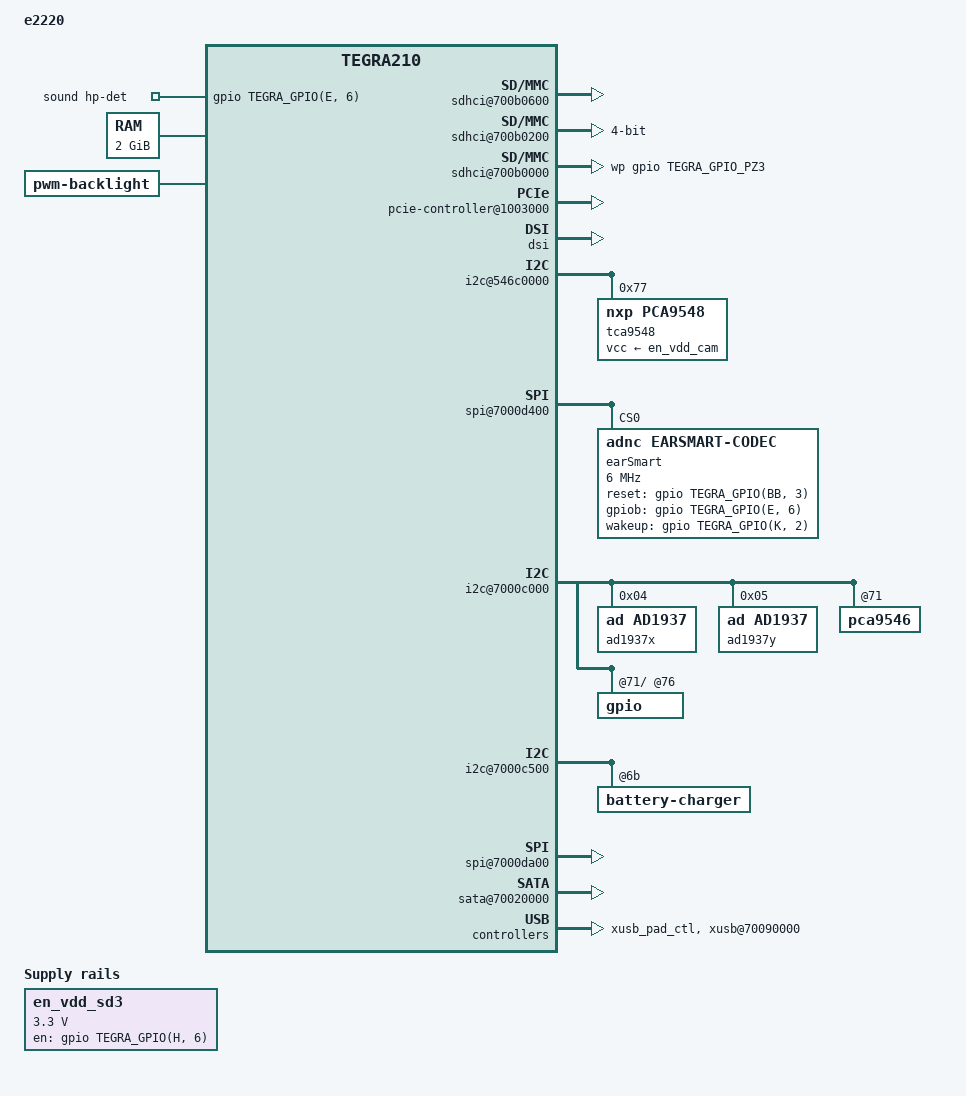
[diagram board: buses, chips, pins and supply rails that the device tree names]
/*
 * T210- DSC
 *
 * arch/arm64/boot/dts/tegra210-ers-e2220-1170-a00-00.dts
 *
 * Copyright (c) 2015-2016, NVIDIA CORPORATION.  All rights reserved.
 *
 * This program is free software; you can redistribute it and/or modify
 * it under the terms of the GNU General Public License as published by
 * the Free Software Foundation; version 2 of the License.
 *
 * This program is distributed in the hope that it will be useful, but WITHOUT
 * ANY WARRANTY; without even the implied warranty of MERCHANTABILITY or
 * FITNESS FOR A PARTICULAR PURPOSE.  See the GNU General Public License for
 * more details.
 *
 * You should have received a copy of the GNU General Public License along
 * with this program; if not, write to the Free Software Foundation, Inc.,
 * 51 Franklin Street, Fifth Floor, Boston, MA  02110-1301, USA.
 *
 */

/dts-v1/;

/memreserve/ 0x80000000 0x00020000;

#include "tegra210-ers-common.dtsi"
#include "tegra210-platforms/tegra210-ers-extgpio-e2220-1170-a00.dtsi"
#include "tegra210-platforms/tegra210-ers-power-tree-e2174-1101-a00.dtsi"
#include "tegra210-platforms/tegra210-ers-e2220-powermon-e2174-1100-a00-00.dtsi"
#include "tegra210-platforms/tegra210-ers-sensor-e2160-1000-a00.dtsi"
#include "tegra210-platforms/tegra210-ers-gpio-e2220-1170-a00.dtsi"
#include "tegra210-platforms/tegra210-pinmux-drive-sdmmc-common.dtsi"
#include "tegra210-platforms/tegra210-ers-pinmux-e2220-1170-a00.dtsi"
#include "tegra210-platforms/tegra210-comms.dtsi"
#include "tegra210-platforms/tegra210-sdhci.dtsi"
#include "tegra210-platforms/tegra210-audio.dtsi"
#include "panel-j-1440-810-5-8.dtsi"
#include "panel-a-wuxga-8-0.dtsi"
#include "panel-s-wqxga-10-1.dtsi"
#include "panel-a-edp-1080p-14-0.dtsi"
#include "tegra210-platforms/tegra210-ers-hdmi-e2190-1100-a00.dtsi"
#include "tegra210-platforms/tegra210-ers-dp-e2220-1170-a00.dtsi"
#include "tegra210-platforms/tegra210-ers-keys-e2220-1170-a00.dtsi"
#include "tegra210-platforms/tegra210-ers-camera-e2249-1002-a00.dtsi"
#include "tegra210-platforms/tegra210-ers-pwm-fan-e2220-1170-a00.dtsi"
#include "tegra210-platforms/tegra210-edp.dtsi"
#include "tegra210-platforms/tegra210-ers-thermal-nct72-e2220-1170-a00.dtsi"
#include "tegra210-platforms/tegra210-thermal-Tboard-Tdiode.dtsi"
#include "tegra210-platforms/tegra210-ers-clk-init.dtsi"
#include <dt-bindings/sound/tegra-asoc-alt.h>
#include <dt-bindings/platform/t210/t210.h>

/ {
	model = "e2220";
	compatible = "nvidia,e2220", "nvidia,tegra210";
	nvidia,boardids = "2220:1100:00;2174:1101:00";
	nvidia,dtsfilename = __FILE__;
	nvidia,proc-boardid = "2220:1100:00";
	nvidia,pmu-boardid = "2174:1101:00";
	nvidia,fastboot-usb-pid = <0x7100>;
	#address-cells = <2>;
	#size-cells = <2>;

	firmware {
		android {
			compatible = "android,firmware";
			hardware = "e2220";
		};
	};

	pmc@7000e400 {
		nvidia,invert-interrupt;
		io-pad-defaults {
			audio-hv {
				nvidia,io-pad-init-voltage = <IO_PAD_VOLTAGE_1_8V>;
			};

			spi-hv {
				nvidia,io-pad-init-voltage = <IO_PAD_VOLTAGE_1_8V>;
			};

			gpio {
				nvidia,io-pad-init-voltage = <IO_PAD_VOLTAGE_1_8V>;
			};

			sdmmc1 {
				nvidia,enable-dynamic-pad-voltage;
			};
			sdmmc3 {
				nvidia,enable-dynamic-pad-voltage;
			};
		};
	};

	chosen {
		bootargs = "earlycon=uart8250,mmio32,0x70006000";
		stdout-path = &uarta;
	};

	firmware {
		android {
			compatible = "android,firmware";
			hardware = "e2220";
		};
	};

	sdhci@700b0600 {
		vddio_sdmmc-supply = <&max77620_sd3>;
		vddio_sd_slot-supply = <&vdd_3v3>;
		uhs-mask = <0x60>;
		built-in;
		power-off-rail;
		status = "okay";
	};

	sdhci@700b0400 {
		uhs-mask = <0x1c>;
		vddio_sdmmc-supply = <&max77620_sd3>;
		vddio_sd_slot-supply = <&en_vdd_sd3>;
		power-off-rail;
		nvidia,update-pinctrl-settings;
		pinctrl-names = "sdmmc_schmitt_enable", "sdmmc_schmitt_disable", "sdmmc_clk_schmitt_enable", "sdmmc_clk_schmitt_disable";
		pinctrl-0 = <&sdmmc3_schmitt_enable_state>;
		pinctrl-1 = <&sdmmc3_schmitt_disable_state>;
		pinctrl-2 = <&sdmmc3_clk_schmitt_enable_state>;
		pinctrl-3 = <&sdmmc3_clk_schmitt_disable_state>;
		status = "disabled";
	};

	sdhci@700b0200 {
		nvidia,is-ddr-tap-delay;
		nvidia,ddr-tap-delay = <0>;
		vddio_sdmmc-supply = <&max77620_sd3>;
		vddio_sd_slot-supply = <&vdd_3v3>;
		uhs-mask = <0x8>;
		bus-width = <4>;
		power-off-rail;
		status = "okay";
	};

	sdhci@700b0000 {
		uhs-mask = <0x8>;
		power-off-rail;
		default-drive-type = <1>;
		vddio_sdmmc-supply = <&max77620_ldo2>;
		vddio_sd_slot-supply = <&en_vdd_sd>;
		nvidia,update-pinctrl-settings;
		pinctrl-names = "sdmmc_schmitt_enable", "sdmmc_schmitt_disable", "sdmmc_clk_schmitt_enable", "sdmmc_clk_schmitt_disable";
		pinctrl-0 = <&sdmmc1_schmitt_enable_state>;
		pinctrl-1 = <&sdmmc1_schmitt_disable_state>;
		pinctrl-2 = <&sdmmc1_clk_schmitt_enable_state>;
		pinctrl-3 = <&sdmmc1_clk_schmitt_disable_state>;
		nvidia,sd-device;
		wp-gpios = <&gpio TEGRA_GPIO_PZ3 0>;
		status = "okay";
	};

	pcie-controller@1003000 {
		nvidia,wake-gpio = <&gpio TEGRA_GPIO(A, 2) 0>;
		nvidia,lane-map = <0x14>;
		dvdd-pex-pll-supply = <&max77620_ldo1>;
		l0-dvddio-pex-supply = <&max77620_ldo1>;
		l1-dvddio-pex-supply = <&max77620_ldo1>;
		l2-dvddio-pex-supply = <&max77620_ldo1>;
		l3-dvddio-pex-supply = <&max77620_ldo1>;
		l4-dvddio-pex-supply = <&max77620_ldo1>;
		l5-dvddio-pex-supply = <&max77620_ldo1>;
		l6-dvddio-pex-supply = <&max77620_ldo1>;
		hvdd-pex-pll-e-supply = <&max77620_sd3>;
		l0-hvddio-pex-supply = <&max77620_sd3>;
		l1-hvddio-pex-supply = <&max77620_sd3>;
		l2-hvddio-pex-supply = <&max77620_sd3>;
		l3-hvddio-pex-supply = <&max77620_sd3>;
		l4-hvddio-pex-supply = <&max77620_sd3>;
		l5-hvddio-pex-supply = <&max77620_sd3>;
		l6-hvddio-pex-supply = <&max77620_sd3>;
		vddio-pex-ctl-supply = <&max77620_sd3>;
		status = "okay";
		pci@1,0 {
			status = "okay";
		};

		pci@2,0 {
			status = "okay";
		};
	};

	host1x {
		/* tegradc.0 */
		dc@54200000 {
			status = "okay";
			nvidia,dc-flags = <TEGRA_DC_FLAG_ENABLED>;
			nvidia,emc-clk-rate = <204000000>;
			nvidia,cmu-enable = <1>;
			nvidia,low-v-win = <0x2>;
			nvidia,fb-bpp = <32>; /* bits per pixel */
			nvidia,fb-flags = <TEGRA_FB_FLIP_ON_PROBE>;
		};
		/* tegradc.1 */
		dc@54240000 {
			status = "okay";
			nvidia,dc-flags = <TEGRA_DC_FLAG_ENABLED>;
			nvidia,emc-clk-rate = <300000000>;
			nvidia,fb-bpp = <32>; /* bits per pixel */
			nvidia,fb-flags = <TEGRA_FB_FLIP_ON_PROBE>;
		};
		dsi {
			nvidia,dsi-controller-vs = <DSI_VS_1>;
			status = "okay";
			panel-j-1440-810-5-8 {
				nvidia,dsi-dpd-pads = <DSIC_DPD_EN DSID_DPD_EN>;
				nvidia,panel-rst-gpio = <&gpio TEGRA_GPIO(V, 2) 0>; /* PV2 */
				nvidia,panel-bl-pwm-gpio = <&gpio TEGRA_GPIO(V, 0) 0>; /* PV0 */
				nvidia,panel-en-gpio = <&gpio TEGRA_GPIO(V, 1) 0>; /* PV1 */
			};
			panel-a-wuxga-8-0 {
				nvidia,dsi-dpd-pads = <DSIC_DPD_EN DSID_DPD_EN>;
				nvidia,panel-rst-gpio = <&gpio TEGRA_GPIO(V, 2) 0>; /* PV2 */
				nvidia,panel-bl-pwm-gpio = <&gpio TEGRA_GPIO(V, 0) 0>; /* PV0 */
				nvidia,panel-en-gpio = <&gpio TEGRA_GPIO(V, 1) 0>; /* PV1 */
			};
			panel-s-wqxga-10-1 {
				nvidia,panel-rst-gpio = <&gpio TEGRA_GPIO(V, 2) 0>; /* PV2 */
				nvidia,panel-bl-pwm-gpio = <&gpio TEGRA_GPIO(V, 0) 0>; /* PV0 */
				nvidia,panel-en-gpio = <&gpio TEGRA_GPIO(V, 1) 0>; /* PV1 */
			};
		};
		sor {
			status = "okay";
			nvidia,hpd-gpio = <&gpio 230 0>; /*PCC6*/
			panel-a-edp-1080p-14-0 {
				nvidia,panel-bl-pwm-gpio = <&gpio TEGRA_GPIO(V, 0) 0>; /* PV0 */
			};
		};
		dpaux {
			status = "okay";
		};
		sor1 {
			status = "okay";
		};
		dpaux1 {
			status = "okay";
		};

		vi {
			status = "okay";

			avdd_dsi_csi-supply = <&max77620_gpio7>;
		};
	};

	spi@7000d400 {
		status = "okay";
		earSmart: earSmart-codec@0 {
			compatible = "adnc,earSmart-codec";
			reg = <0>;
			spi-max-frequency = <6000000>;
			spi-cpha;

			adnc,reset-gpio = <&gpio TEGRA_GPIO(BB, 3) GPIO_ACTIVE_HIGH>;
			adnc,gpiob-gpio = <&gpio TEGRA_GPIO(E, 6) GPIO_ACTIVE_HIGH>;
			adnc,wakeup-gpio = <&gpio TEGRA_GPIO(K, 2) GPIO_ACTIVE_HIGH>;

			adnc,int-gpio = <(-1)>;
			adnc,gpioa-gpio = <(-1)>;
			adnc,enable_hs_uart_intf = <0>;
			adnc,ext_clk_rate = <0>;
			adnc,debounce_timer = <3>;
			adnc,plug_det_enabled = <1>;
			adnc,mic_det_enabled = <1>;

			adnc,gpio_b_irq_type = <4>;
			adnc,cmd_comp_mode = <0>;

			/* Button Control 1 */
			adnc,btn_press_settling_time = <4>;
			adnc,btn_press_polling_rate = <1>;
			adnc,btn_press_det_act = <1>;

			/* Button Control 2 */
			adnc,double_btn_timer = <(-1)>;
			adnc,mic_det_settling_timer = <(-1)>;

			/* Button Control 3 */
			adnc,long_btn_timer = <(-1)>;
			adnc,adc_btn_mute = <(-1)>;

			/* Button Control 4 */
			adnc,valid_levels = <31>;
			adnc,impd_det_timer = <0>;
		};
	};

	i2c@7000c000 {
		ad1937x: ad193x.0-0004@04 {
			compatible = "ad,ad1937";
			reg = <0x04>;
		};
		ad1937y: ad193x.0-0005@05 {
			compatible = "ad,ad1937";
			reg = <0x05>;
		};
		pca9546@71 {
			i2c@3 {
				gpio@76 {
					default {
						gpio-output-low = <12 14 15>;
						gpio-output-high = <5 6 11 13>;
					};
				};
			};
		};
	};

	i2c@7000c500 {
		battery-charger@6b {
			usb0_vbus: vbus {
				regulator-enable-ramp-delay = <260000>;
			};
		};
	};

	adma@702e2000  {
		dma-channels = <10>;
		status = "okay";
	};

	ahub {
		i2s@702d1000 {
			pinctrl-names = "dap_active", "dap_inactive";
			pinctrl-0 = <>;
			pinctrl-1 = <>;
			regulator-supplies = "vdd-1v8-audio-hv", "vdd-1v8-audio-hv-bias";
			vdd-1v8-audio-hv-supply = <&max77620_sd3>;
			vdd-1v8-audio-hv-bias-supply = <&max77620_sd3>;
			fsync-width = <31>;
		};

		i2s@702d1100 {
			pinctrl-names = "dap_active", "dap_inactive";
			pinctrl-0 = <>;
			pinctrl-1 = <>;
			regulator-supplies = "vdd-1v8-spi-hv", "vdd-1v8-spi-hv-bias";
			vdd-1v8-spi-hv-supply = <&max77620_sd3>;
			vdd-1v8-spi-hv-bias-supply = <&max77620_sd3>;
			fsync-width = <0>;
		};

		i2s@702d1300 {
			pinctrl-names = "dap_active", "dap_inactive";
			pinctrl-0 = <>;
			pinctrl-1 = <>;
			regulator-supplies = "vddio-dmic";
			vddio-dmic-supply = <&max77620_sd3>;
			enable-cya; /* enable I2S4_CYA bit to select i2s4b pin */
		};

		spdif@702d6000 {
			pinctrl-names = "dap_active", "dap_inactive";
			pinctrl-0 = <>;
			pinctrl-1 = <>;
			regulator-supplies = "vdd-io-1v8-dp", "vdd-1v8-dp";
			vdd-io-1v8-dp-supply = <&max77620_sd3>;
			vdd-1v8-dp-supply = <&max77620_sd3>;
		};
	};

	sound {
		compatible = "nvidia,tegra-audio-t210ref-mobile-es755";
		nvidia,model = "tegra-snd-t210ref-mobile-es755";
		nvidia,hp-det-gpios = <&gpio TEGRA_GPIO(E, 6) GPIO_ACTIVE_HIGH>;
		nvidia,num-codec-link = <4>;

		nvidia,audio-routing =
			"y Headphone", 	"y OUT",
			"y IN",		"y Mic",
			"k Headphone", 	"k OUT",
			"k IN",		"k Mic",
			"z Headphone", 	"z OUT",
			"z IN",		"z Mic",
			"z IN",		"z OUT";

		nvidia,xbar = <&tegra_axbar>;

		nvidia,dai-link-1 {
			link-name = "earSmart-playback";
			cpu-dai = <&tegra_i2s1>;
			codec-dai = <&earSmart>;
			cpu-dai-name = "I2S1";
			codec-dai-name = "earSmart-porta";
			format = "i2s";
			bitclock-slave;
			frame-slave;
			bitclock-noninversion;
			frame-noninversion;
			bit-format = "s16_le";
			bclk_ratio = <0>;
			srate = <48000>;
			num-channel = <2>;
			name-prefix = "x";
		};
		nvidia,dai-link-2 {
			link-name = "spdif-dit-1";
			cpu-dai = <&tegra_i2s2>;
			codec-dai = <&spdif_dit1>;
			cpu-dai-name = "I2S2";
			codec-dai-name = "dit-hifi";
			format = "dsp_a";
			bitclock-slave;
			frame-slave;
			bitclock-inversion;
			frame-inversion;
			bit-format = "s16_le";
			bclk_ratio = <4>;
			srate = <8000>;
			num-channel = <1>;
			name-prefix = "y";
		};
		nvidia,dai-link-3 {
			link-name = "spdif-dit-2";
			cpu-dai = <&tegra_i2s3>;
			codec-dai = <&spdif_dit2>;
			cpu-dai-name = "I2S3";
			codec-dai-name = "dit-hifi";
			format = "i2s";
			bitclock-slave;
			frame-slave;
			bitclock-noninversion;
			frame-noninversion;
			bit-format = "s16_le";
			bclk_ratio = <0>;
			srate = <48000>;
			num-channel = <2>;
			name-prefix = "z";
		};
		nvidia,dai-link-4 {
			link-name = "baseband";
			cpu-dai = <&tegra_i2s4>;
			codec-dai = <&spdif_dit3>;
			cpu-dai-name = "I2S4";
			codec-dai-name = "dit-hifi";
			format = "i2s";
			bitclock-slave;
			frame-slave;
			bitclock-noninversion;
			frame-noninversion;
			bit-format = "s16_le";
			bclk_ratio = <0>;
			srate = <16000>;
			num-channel = <2>;
			name-prefix = "k";
		};
	};

	adsp_audio {
		compr-ops = <1>;
		num-plugin = <3>;
		plugin-info-1 {
			plugin-name = "mp3-dec1";
			firmware-name = "nvmp3dec.elf";
			widget-name = "MP3-DEC1";
		};
		plugin-info-2 {
			plugin-name = "mp3-dec2";
			firmware-name = "nvmp3dec.elf";
			widget-name = "MP3-DEC2";
		};
		plugin-info-3 {
			plugin-name = "spkprot";
			firmware-name = "nvspkprot.elf";
			widget-name = "SPKPROT-SW";
		};
	};

	sound_ref {
		compatible = "nvidia,tegra-audio-t210ref";
		nvidia,model = "tegra-snd-t210ref";
		nvidia,num-codec-link = <3>;
		nvidia,num-amx = <2>;
		nvidia,num-adx = <2>;
		nvidia,amx-slot-size = <32 32>;
		nvidia,adx-slot-size = <32 32>;
		nvidia,addr-max9485 = <0>;
		nvidia,amx-slot-map = <
			/* jack 0 */
			TDM_SLOT_MAP(0, 0, 0)
			TDM_SLOT_MAP(0, 0, 0)
			TDM_SLOT_MAP(0, 1, 0)
			TDM_SLOT_MAP(0, 1, 1)
			TDM_SLOT_MAP(0, 0, 0)
			TDM_SLOT_MAP(0, 0, 0)
			TDM_SLOT_MAP(0, 2, 0)
			TDM_SLOT_MAP(0, 2, 1)
			/* jack 1 */
			TDM_SLOT_MAP(0, 0, 0)
			TDM_SLOT_MAP(0, 0, 0)
			TDM_SLOT_MAP(1, 1, 0)
			TDM_SLOT_MAP(1, 1, 1)
			TDM_SLOT_MAP(0, 0, 0)
			TDM_SLOT_MAP(0, 0, 0)
			TDM_SLOT_MAP(1, 2, 0)
			TDM_SLOT_MAP(1, 2, 1)
			/* jack 2 */
			TDM_SLOT_MAP(0, 0, 0)
			TDM_SLOT_MAP(0, 0, 0)
			TDM_SLOT_MAP(2, 1, 0)
			TDM_SLOT_MAP(2, 1, 1)
			TDM_SLOT_MAP(0, 0, 0)
			TDM_SLOT_MAP(0, 0, 0)
			TDM_SLOT_MAP(2, 2, 0)
			TDM_SLOT_MAP(2, 2, 1)
			/* jack 3 */
			TDM_SLOT_MAP(0, 0, 0)
			TDM_SLOT_MAP(0, 0, 0)
			TDM_SLOT_MAP(3, 1, 0)
			TDM_SLOT_MAP(3, 1, 1)
			TDM_SLOT_MAP(0, 0, 0)
			TDM_SLOT_MAP(0, 0, 0)
			TDM_SLOT_MAP(3, 2, 0)
			TDM_SLOT_MAP(3, 2, 1)>;
		nvidia,adx-slot-map = <
			/* jack 0 */
			TDM_SLOT_MAP(0, 0, 0)
			TDM_SLOT_MAP(0, 0, 0)
			TDM_SLOT_MAP(0, 1, 0)
			TDM_SLOT_MAP(0, 1, 1)
			TDM_SLOT_MAP(0, 0, 0)
			TDM_SLOT_MAP(0, 0, 0)
			TDM_SLOT_MAP(0, 2, 0)
			TDM_SLOT_MAP(0, 2, 1)
			/* jack 1 */
			TDM_SLOT_MAP(0, 0, 0)
			TDM_SLOT_MAP(0, 0, 0)
			TDM_SLOT_MAP(1, 1, 0)
			TDM_SLOT_MAP(1, 1, 1)
			TDM_SLOT_MAP(0, 0, 0)
			TDM_SLOT_MAP(0, 0, 0)
			TDM_SLOT_MAP(1, 2, 0)
			TDM_SLOT_MAP(1, 2, 1)
			/* jack 2 */
			TDM_SLOT_MAP(0, 0, 0)
			TDM_SLOT_MAP(0, 0, 0)
			TDM_SLOT_MAP(2, 1, 0)
			TDM_SLOT_MAP(2, 1, 1)
			TDM_SLOT_MAP(0, 0, 0)
			TDM_SLOT_MAP(0, 0, 0)
			TDM_SLOT_MAP(2, 2, 0)
			TDM_SLOT_MAP(2, 2, 1)
			/* jack 3 */
			TDM_SLOT_MAP(0, 0, 0)
			TDM_SLOT_MAP(0, 0, 0)
			TDM_SLOT_MAP(3, 1, 0)
			TDM_SLOT_MAP(3, 1, 1)
			TDM_SLOT_MAP(0, 0, 0)
			TDM_SLOT_MAP(0, 0, 0)
			TDM_SLOT_MAP(3, 2, 0)
			TDM_SLOT_MAP(3, 2, 1)>;

		nvidia,audio-routing =
			"Headphone-x", 	"x DAC1OUT",
			"Headphone-x", 	"x DAC2OUT",
			"Headphone-x", 	"x DAC3OUT",
			"Headphone-x", 	"x DAC4OUT",
			"x ADC1IN",	"LineIn-x",
			"x ADC2IN",	"LineIn-x",

			"Headphone-y", 	"y DAC1OUT",
			"Headphone-y", 	"y DAC2OUT",
			"Headphone-y", 	"y DAC3OUT",
			"Headphone-y", 	"y DAC4OUT",
			"y ADC1IN",	"LineIn-y",
			"y ADC2IN",	"LineIn-y",

			"Headphone-z", "z OUT",
			"z IN", "LineIn-z";
		nvidia,xbar = <&tegra_axbar>;

		nvidia,dai-link-1 {
			link-name = "ad-playback-x";
			cpu-dai = <&tegra_i2s1>;
			codec-dai = <&ad1937x>;
			cpu-dai-name = "I2S1";
			codec-dai-name = "ad193x-hifi";
			tx-mask = <0xFF>;
			rx-mask = <0xFF>;
			format = "dsp_a";
			bitclock-slave;
			frame-slave;
			bitclock-noninversion;
			frame-noninversion;
			bit-format = "s32_le";
			bclk_ratio = <1>;
			srate = <48000>;
			num-channel = <8>;
			name-prefix = "x";
		};
		nvidia,dai-link-2 {
			link-name = "ad-playback-y";
			cpu-dai = <&tegra_i2s2>;
			codec-dai = <&ad1937y>;
			cpu-dai-name = "I2S2";
			codec-dai-name = "ad193x-hifi";
			tx-mask = <0xFF>;
			rx-mask = <0xFF>;
			format = "dsp_a";
			bitclock-master;
			frame-master;
			bitclock-noninversion;
			frame-noninversion;
			bit-format = "s32_le";
			bclk_ratio = <1>;
			srate = <48000>;
			num-channel = <8>;
			name-prefix = "y";
		};
		nvidia,dai-link-3 {
			link-name = "spdif-playback";
			cpu-dai = <&tegra_spdif>;
			codec-dai = <&spdif_dit0>;
			cpu-dai-name = "SPDIF1-1";
			codec-dai-name = "dit-hifi";
			tx-mask = <0xFF>;
			rx-mask = <0xFF>;
			bit-format = "s16_le";
			bclk_ratio = <2>;
			srate = <48000>;
			num-channel = <2>;
			name-prefix = "z";
		};
	};

	spi@7000da00 {
		status = "okay";
		spi-max-frequency = <25000000>;
	};

	memory@80000000 {
		device_type = "memory";
		reg = < 0x0 0x80000000 0x0 0x80000000>;
	};

        sata@70020000 {
		status = "okay";
		compatible = "nvidia,tegra210-ahci-sata";
		nvidia,pexp-gpio = <&pca9539_76 11 0>, <&pca9539_76 12 0>;
		nvidia,enable-sata-port;
        };

	regulators {
		en_vdd_sd3: regulator@12 {
			compatible = "regulator-fixed-sync";
			reg = <12>;
			regulator-name = "en-vdd-sd3";
			regulator-min-microvolt = <3300000>;
			regulator-max-microvolt = <3300000>;
			gpio = <&gpio TEGRA_GPIO(H, 6) 0>;
			enable-active-high;
		};
	};

	backlight {
		compatible = "pwm-backlight";
		status = "okay";
		panel-j-1440-810-5-8-bl {
			pwms = <&tegra_pwm 0 29334>;
		};
		panel-a-wuxga-8-0-bl {
			pwms = <&tegra_pwm 0 40161>;
		};
		panel-s-wqxga-10-1-bl {
			pwms = <&tegra_pwm 0 1000000>;
		};
		panel-a-edp-1080p-14-0-bl {
			pwms = <&tegra_pwm 0 1000000>;
		};
	};

	camera-pcl {
		profiles {
			imx214-pcl@x_001a {
				use_of_node = "yes";
				vana-supply = <&max77620_ldo3>;
				vdig-supply = <&vdd_sys_boost>;
				vif-supply = <&en_vdd_cam>;
				af-gpios = <&gpio TEGRA_GPIO(S, 5) 0>;
				reset-gpios = <&gpio TEGRA_GPIO(S, 7) 0>;
				cam1-gpios = <&gpio TEGRA_GPIO(S, 7) 0>;
			};
			dw9714-pcl@x_000c {
				use_of_node = "yes";
				vdd-supply = <&max77620_ldo3>;
				vdd_i2c-supply = <&en_vdd_cam>;
				/* platform data */
				dev_name = "focuser";
				num = <0>;
				sync = <0>;
			};
			as3648-pcl@x_0030 {
				use_of_node = "yes";
				vin-supply = <&vdd_sys_boost>;
				vi2c-supply = <&en_vdd_cam>;
				/* platform data */
				dev_name = "torch";
				num = <0>;
				flash-type = <2>; /* 0-AS3643, 1-AS3647, 2-AS3648 */
				strobe-gpio = <TEGRA_GPIO(S, 6)>;
				strobe-type = <1> ; /* 1=edge, 2=level, 3=i2c */
				/* pin state */
				pin-mask = <0x10>;
				pin-value = <0x10>;
			};
			ov5693-pcl@x_0036 {
				use_of_node = "yes";
				dev_name = "ov5693";
				num = <1>;
				vana-supply = <&max77620_ldo3>;
				vif-supply = <&en_vdd_cam>;
				cam2-gpios = <&gpio TEGRA_GPIO(T, 0) 0>;
			};
			ov5693-pcl@a_0036 {
				use_of_node = "yes";
				dev_name = "ov5693";
				num = <0>;
				vana-supply = <&max77620_ldo3>;
				vif-supply = <&en_vdd_cam>;
				cam2-gpios = <&gpio TEGRA_GPIO(S, 7) 0>;
				cam,use-cam-gpio;
			};
			ov5693@b_0036 {
				use_of_node = "yes";
				dev_name = "ov5693";
				num = <1>;
				vana-supply = <&max77620_ldo3>;
				vif-supply = <&en_vdd_cam>;
				cam2-gpios = <&gpio TEGRA_GPIO(T, 0) 0>;
				cam,use-cam-gpio;
			};
			ov5693-pcl@c_0036 {
				use_of_node = "yes";
				dev_name = "ov5693";
				num = <2>;
				vana-supply = <&max77620_ldo3>;
				vif-supply = <&en_vdd_cam>;
				cam2-gpios = <&gpio TEGRA_GPIO(T, 0) 0>;
				cam,use-cam-gpio;
			};
			ov5693-pcl@d_0036 {
				use_of_node = "yes";
				dev_name = "ov5693";
				num = <3>;
				vana-supply = <&max77620_ldo3>;
				vif-supply = <&en_vdd_cam>;
				cam2-gpios = <&gpio TEGRA_GPIO(S, 7) 0>;
				cam,use-cam-gpio;
			};
			ov5693-pcl@e_0036 {
				use_of_node = "yes";
				dev_name = "ov5693";
				num = <4>;
				vana-supply = <&max77620_ldo3>;
				vif-supply = <&en_vdd_cam>;
				cam2-gpios = <&gpio TEGRA_GPIO(Z, 3) 0>;
				cam,use-cam-gpio;
			};
			ov5693-pcl@f_0036 {
				use_of_node = "yes";
				dev_name = "ov5693";
				num = <5>;
				vana-supply = <&max77620_ldo3>;
				vif-supply = <&en_vdd_cam>;
				cam2-gpios = <&gpio TEGRA_GPIO(T, 1) 0>;
				cam,use-cam-gpio;
			};
		};
		dpd {
			default-enable;
		};
	};

        udc@7d000000 {
                nvidia,port-otg;
                nvidia,charging-supported;
                nvidia,enable-pmu-vbus-detection;
		nvidia,turn-off-vbus-in-lp0;
                nvidia,id-detection-type = <1>;
                extcon-cables = <&bq2419x 0>;
                extcon-cable-names = "vbus";
                #extcon-cells = <1>;
                status = "disabled";
		dt-override-status-odm-data = <0x01000000 0x00000000>;
        };

        otg@7d000000 {
                nvidia,enable-pmu-vbus-detection;
                nvidia,id-detection-type = <1>;
                extcon-cables = <&bq2419x 0 &id_gpio_extcon 0>;
                extcon-cable-names = "vbus", "id";
                #extcon-cells = <1>;
                status = "disabled";
		dt-override-status-odm-data = <0x01000000 0x00000000>;
        };

	/* Put common control config here */
	xusb_pad_ctl: xusb_padctl {
		nvidia,lane-map = <0x14>;
		nvidia,enable-sata-port;
		nvidia,ss_ports = < TEGRA_XHCI_SS_P0 TEGRA_XHCI_USB2_P0 TEGRA_XHCI_LANE_6 TEGRA_XHCI_PORT_OTG
				    TEGRA_XHCI_SS_P1 TEGRA_XHCI_USB2_P3 TEGRA_XHCI_LANE_5 TEGRA_XHCI_PORT_STD
				    TEGRA_XHCI_SS_P2 TEGRA_XHCI_USB2_P1 TEGRA_XHCI_UNUSED_LANE TEGRA_XHCI_PORT_STD
				    TEGRA_XHCI_SS_P3 TEGRA_XHCI_USB2_P2 TEGRA_XHCI_UNUSED_LANE TEGRA_XHCI_PORT_STD>;
		status = "okay";
	};

	xusb@70090000 {
		/* nvidia,uses_external_pmic;
		nvidia,gpio_controls_muxed_ss_lanes; */
		nvidia,gpio_ss1_sata = <0>;
		nvidia,ulpicap = <0>; /* No ulpi support. can we remove */
		nvidia,portmap = <0x0e0e>;
		nvidia,common_padctl = <&xusb_pad_ctl>;
		status = "okay";
		utmi_pad0 {
			nvidia,vbus_type = <0>;
			nvidia,vbus_en_pin = <0>;
		 };
		utmi_pad1 {
			nvidia,vbus_type = <0>;
			nvidia,vbus_en_pin = <0>;
		};
		utmi_pad2 {
			nvidia,vbus_type = <0>;
			nvidia,vbus_en_pin = <1>;
		};
		utmi_pad3 {
			nvidia,vbus_type = <0>;
			nvidia,vbus_en_pin = <1>;
		};
	};

	xudc@700d0000 {
		extcon-cables = <&bq2419x 0>;
		extcon-cable-names = "vbus";
		#extcon-cells = <1>;
		nvidia,common_padctl = <&xusb_pad_ctl>;
		status = "disabled";
		dt-override-status-odm-data = <0x01000000 0x01000000>;
	};

	xotg {
		extcon-cables = <&id_gpio_extcon 0>;
		extcon-cable-names = "id";
		#extcon-cells = <1>;
		nvidia,common_padctl = <&xusb_pad_ctl>;
		status = "disabled";
		dt-override-status-odm-data = <0x01000000 0x01000000>;
	};

	gpio-keys {
		home {
			status = "disabled";
		};
	};

	i2c@7000d000 {
		clock-frequency = <1000000>;
	};

	gpu-dvfs-rework {
		status = "disabled";
	};

	host1x {
		i2c@546c0000 {
			tca9548@6_0077 {
				compatible = "nxp,pca9548";
				reg = <0x77>;
				#address-cells = <1>;
				#size-cells = <0>;
				vcc-supply = <&en_vdd_cam>;
				skip_mux_detect;
				force_bus_start = <T210_CAMERA_I2C_MUX_BUS(0)>;
				i2c@0 {
					reg = <0>;
					i2c-mux,deselect-on-exit;
				};
				i2c@1 {
					reg = <1>;
					i2c-mux,deselect-on-exit;
				};
				i2c@2 {
					reg = <2>;
					i2c-mux,deselect-on-exit;
				};
				i2c@3 {
					reg = <3>;
					i2c-mux,deselect-on-exit;
				};
				i2c@4 {
					reg = <4>;
					i2c-mux,deselect-on-exit;
				};
				i2c@5 {
					reg = <5>;
					i2c-mux,deselect-on-exit;
				};
			};
		};
	};

	thermal-zones {
		CPU-therm {
			thermal-zone-params {
				governor-name = "pid_thermal_gov";
				max_err_temp = <9000>;
				max_err_gain = <1000>;
				gain_p = <1000>;
				gain_d = <0>;
				up_compensation = <20>;
				down_compensation = <20>;
			};
			trips {
				cpu_critical {
					temperature = <103000>;
					hysteresis = <0>;
					type = "critical";
					writable;
				};
				cpu_heavy {
					temperature = <99000>;
					hysteresis = <0>;
					type = "hot";
					writable;
				};
				cpu_throttle {
					temperature = <89500>;
					hysteresis = <0>;
					type = "passive";
					writable;
				};
			};
			cooling-maps {
				map0 {
					trip = <&{/thermal-zones/CPU-therm/trips/cpu_critical}>;
					cdev-type = "tegra-shutdown";
					cooling-device = <&{/soctherm@0x700E2000/throttle@critical}
						THERMAL_NO_LIMIT THERMAL_NO_LIMIT>;
				};
				map1 {
					trip = <&{/thermal-zones/CPU-therm/trips/cpu_heavy}>;
					cdev-type = "tegra-heavy";
					cooling-device = <&{/soctherm@0x700E2000/throttle@heavy}
						THERMAL_NO_LIMIT THERMAL_NO_LIMIT>;
				};
				map2 {
					trip = <&{/thermal-zones/CPU-therm/trips/cpu_throttle}>;
					cdev-type = "cpu-balanced";
					cooling-device = <&{/bthrot_cdev/cpu_balanced}
						THERMAL_NO_LIMIT THERMAL_NO_LIMIT>;
				};
			};
		};
		GPU-therm {
			thermal-zone-params {
				governor-name = "pid_thermal_gov";
				max_err_temp = <9000>;
				max_err_gain = <1000>;
				gain_p = <1000>;
				gain_d = <0>;
				up_compensation = <20>;
				down_compensation = <20>;
			};
			trips {
				gpu_critical {
					temperature = <104000>;
					hysteresis = <0>;
					type = "critical";
					writable;
				};
				gpu_heavy {
					temperature = <101000>;
					hysteresis = <0>;
					type = "hot";
					writable;
				};
				gpu_throttle {
					temperature = <91500>;
					hysteresis = <0>;
					type = "passive";
					writable;
				};
			};
			cooling-maps {
				map0 {
					trip = <&{/thermal-zones/GPU-therm/trips/gpu_critical}>;
					cdev-type = "tegra-shutdown";
					cooling-device = <&{/soctherm@0x700E2000/throttle@critical}
						THERMAL_NO_LIMIT THERMAL_NO_LIMIT>;
				};
				map1 {
					trip = <&{/thermal-zones/GPU-therm/trips/gpu_heavy}>;
					cdev-type = "tegra-heavy";
					cooling-device = <&{/soctherm@0x700E2000/throttle@heavy}
						THERMAL_NO_LIMIT THERMAL_NO_LIMIT>;
				};
				map2 {
					trip = <&{/thermal-zones/GPU-therm/trips/gpu_throttle}>;
					cdev-type = "gpu-balanced";
					cooling-device = <&{/bthrot_cdev/gpu_balanced}
						THERMAL_NO_LIMIT THERMAL_NO_LIMIT>;
				};
			};
		};
		LCPU-therm {
			thermal-zone-params {
				governor-name = "pid_thermal_gov";
				max_err_temp = <9000>;
				max_err_gain = <1000>;
				gain_p = <1000>;
				gain_d = <0>;
				up_compensation = <20>;
				down_compensation = <20>;
			};
			trips {
				lcpu_critical {
					temperature = <104000>; /* must be same as GPU's critical temp */
					hysteresis = <0>;
					type = "critical";
					writable;
				};
				lcpu_heavy {
					temperature = <98000>;
					hysteresis = <0>;
					type = "hot";
					writable;
				};
				lcpu_throttle {
					temperature = <88500>;
					hysteresis = <0>;
					type = "passive";
					writable;
				};
			};
			cooling-maps {
				map0 {
					trip = <&{/thermal-zones/LCPU-therm/trips/lcpu_critical}>;
					cdev-type = "tegra-shutdown";
					cooling-device = <&{/soctherm@0x700E2000/throttle@critical}
						THERMAL_NO_LIMIT THERMAL_NO_LIMIT>;
				};
				map1 {
					trip = <&{/thermal-zones/LCPU-therm/trips/lcpu_heavy}>;
					cdev-type = "tegra-heavy";
					cooling-device = <&{/soctherm@0x700E2000/throttle@heavy}
						THERMAL_NO_LIMIT THERMAL_NO_LIMIT>;
				};
				map2 {
					trip = <&{/thermal-zones/LCPU-therm/trips/lcpu_throttle}>;
					cdev-type = "cpu-balanced";
					cooling-device = <&{/bthrot_cdev/cpu_balanced}
						THERMAL_NO_LIMIT THERMAL_NO_LIMIT>;
				};
			};
		};
		PLL-therm {
			thermal-zone-params {
				governor-name = "pid_thermal_gov";
				max_err_temp = <9000>;
				max_err_gain = <1000>;
				gain_p = <1000>;
				gain_d = <0>;
				up_compensation = <20>;
				down_compensation = <20>;
			};
		};
		Tboard_tegra {
			status = "okay";
		};
		Tdiode_tegra {
			status = "okay";
		};
	};

	soctherm@0x700E2000 {
		throttle@oc1 {
			device_type = "throttlectl";
			oc-alarm-id = <1>;
			priority = <50>;
			mode = "brief";
			intr;
			active_low;
			count_threshold = <100>;
			filter = <5100000>;
			throttle_dev = <&{/soctherm@0x700E2000/throttle_dev@cpu_medium}
					&{/soctherm@0x700E2000/throttle_dev@gpu_medium}>;
		};
		throttle_dev@cpu_medium {
			dividend = <63>;
			divisor = <255>;
			duration = <0>;
			step = <0>;
		};
		throttle_dev@gpu_medium {
			level = "medium_throttling";
		};
	};

	serial@70006200 {
		dma-names = "tx";
		nvidia,adjust-baud-rates = <921600 921600 100>;
	};
};
